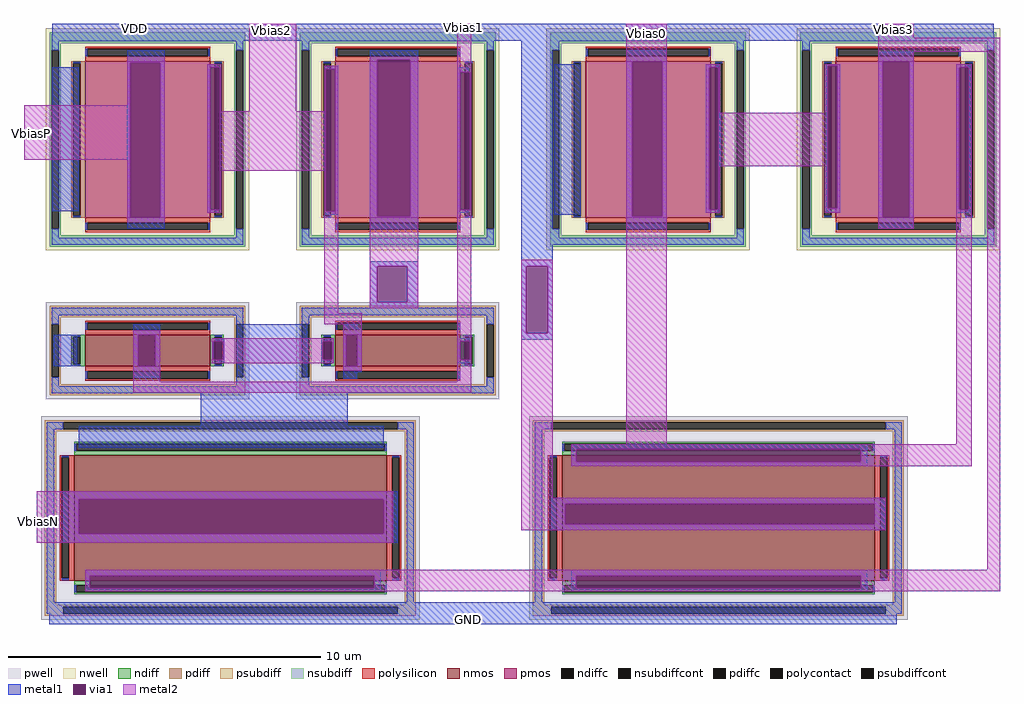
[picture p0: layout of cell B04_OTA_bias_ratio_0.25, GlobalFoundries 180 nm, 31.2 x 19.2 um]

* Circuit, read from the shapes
.subckt B04_OTA_bias_ratio_0.25 VDD Vbias2 Vbias1 VbiasP VbiasN Vbias0 Vbias3 GND
XM1 GND VbiasN Vbias3 GND nfet_03v3 w=10u l=4u
XM2 n1 Vbias1 GND GND nfet_03v3 w=1u l=4u
XM3 Vbias1 Vbias2 n1 GND nfet_03v3 w=1u l=4u
XM4 Vbias0 VDD Vbias3 GND nfet_03v3 w=10u l=4u
XM5 Vbias2 VbiasP VDD VDD pfet_03v3 w=5u l=4u
XM6 Vbias1 GND Vbias2 VDD pfet_03v3 w=5u l=4u
XM7 n2 Vbias0 VDD VDD pfet_03v3 w=5u l=4u
XM8 Vbias0 Vbias3 n2 VDD pfet_03v3 w=5u l=4u
.ends

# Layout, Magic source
magic
tech gf180mcuD
<< pwell >>
rect 96 -78 100 -75
<< metal1 >>
rect -6 128 596 139
rect 42 114 66 122
rect -6 19 11 111
rect 42 15 44 114
rect 63 15 66 114
rect 197 116 228 122
rect 93 111 99 113
rect 93 20 95 111
rect 168 110 177 112
rect 93 18 99 20
rect 168 19 169 110
rect 175 19 177 110
rect 168 17 177 19
rect 42 8 66 15
rect 197 16 202 116
rect 223 16 228 116
rect 253 108 260 111
rect 253 20 255 108
rect 253 18 260 20
rect 197 8 228 16
rect 197 -16 228 -13
rect 197 -39 202 -16
rect 221 -39 228 -16
rect 197 -44 228 -39
rect 294 -16 314 128
rect 361 115 387 122
rect 315 17 332 113
rect 361 16 365 115
rect 384 16 387 115
rect 522 115 545 121
rect 412 111 421 113
rect 412 20 414 111
rect 420 20 421 111
rect 412 18 421 20
rect 489 112 498 113
rect 489 21 490 112
rect 496 21 498 112
rect 489 18 498 21
rect 361 8 387 16
rect 522 15 525 115
rect 542 15 545 115
rect 572 111 582 113
rect 572 20 574 111
rect 580 20 582 111
rect 572 18 582 20
rect 522 8 545 15
rect 46 -60 63 -53
rect -5 -80 10 -60
rect 46 -80 49 -60
rect 60 -80 63 -60
rect 96 -64 104 -62
rect 96 -76 97 -64
rect 103 -76 104 -64
rect 96 -78 104 -76
rect 46 -87 63 -80
rect 112 -88 157 -53
rect 180 -56 189 -53
rect 180 -60 192 -56
rect 166 -64 174 -62
rect 166 -76 167 -64
rect 173 -76 174 -64
rect 166 -78 174 -76
rect 180 -80 182 -60
rect 189 -80 192 -60
rect 294 -59 297 -16
rect 311 -59 314 -16
rect 253 -64 262 -62
rect 294 -63 314 -59
rect 253 -76 255 -64
rect 261 -76 262 -64
rect 253 -78 262 -76
rect 180 -84 192 -80
rect 180 -88 189 -84
rect 115 -95 154 -88
rect 89 -118 183 -95
rect 11 -132 206 -118
rect 326 -133 515 -130
rect 326 -141 329 -133
rect 511 -141 515 -133
rect 326 -144 515 -141
rect 1 -165 215 -160
rect 1 -187 11 -165
rect 206 -187 215 -165
rect 313 -168 527 -164
rect 313 -181 322 -168
rect 520 -181 527 -168
rect 313 -185 527 -181
rect 1 -193 215 -187
rect 15 -214 204 -210
rect 15 -222 18 -214
rect 200 -222 204 -214
rect 15 -224 204 -222
rect 326 -214 515 -210
rect 326 -222 329 -214
rect 511 -222 515 -214
rect 326 -224 515 -222
rect -8 -245 534 -231
<< via1 >>
rect 44 15 63 114
rect 95 20 101 111
rect 169 19 175 110
rect 202 16 223 116
rect 255 20 261 108
rect 202 -39 221 -16
rect 365 16 384 115
rect 414 20 420 111
rect 490 21 496 112
rect 525 15 542 115
rect 574 20 580 111
rect 49 -80 60 -60
rect 97 -76 103 -64
rect 167 -76 173 -64
rect 182 -80 189 -60
rect 297 -59 311 -16
rect 255 -76 261 -64
rect 329 -141 511 -133
rect 11 -187 206 -165
rect 322 -181 520 -168
rect 18 -222 200 -214
rect 329 -222 511 -214
<< metal2 >>
rect 42 114 66 118
rect 42 87 44 114
rect -24 52 44 87
rect 42 15 44 52
rect 63 15 66 114
rect 93 111 102 113
rect 93 20 95 111
rect 101 83 102 111
rect 120 83 150 139
rect 197 116 228 118
rect 168 110 177 112
rect 168 83 169 110
rect 101 45 169 83
rect 101 20 102 45
rect 93 18 102 20
rect 168 19 169 45
rect 175 19 177 110
rect 42 12 66 15
rect 168 -46 177 19
rect 197 16 202 116
rect 223 16 228 116
rect 197 -16 228 16
rect 197 -39 202 -16
rect 221 -39 228 -16
rect 197 -43 228 -39
rect 253 108 262 139
rect 253 20 255 108
rect 261 20 262 108
rect 168 -53 192 -46
rect 46 -60 63 -57
rect 46 -80 49 -60
rect 60 -80 63 -60
rect 180 -60 192 -53
rect 96 -64 174 -62
rect 96 -76 97 -64
rect 103 -76 167 -64
rect 173 -76 174 -64
rect 96 -78 174 -76
rect 46 -90 63 -80
rect 180 -80 182 -60
rect 189 -80 192 -60
rect 180 -83 192 -80
rect 253 -64 262 20
rect 361 115 387 139
rect 361 16 365 115
rect 384 16 387 115
rect 522 130 545 139
rect 522 121 600 130
rect 522 115 545 121
rect 412 111 421 113
rect 412 20 414 111
rect 420 82 421 111
rect 488 112 498 113
rect 488 82 490 112
rect 420 48 490 82
rect 420 20 421 48
rect 412 18 421 20
rect 488 21 490 48
rect 496 21 498 112
rect 488 18 498 21
rect 253 -76 255 -64
rect 261 -76 262 -64
rect 253 -90 262 -76
rect 46 -97 262 -90
rect 294 -16 314 -12
rect 294 -59 297 -16
rect 311 -59 314 -16
rect -16 -165 212 -160
rect -16 -187 11 -165
rect 206 -187 212 -165
rect 294 -164 314 -59
rect 361 -130 387 16
rect 522 15 525 115
rect 542 15 545 115
rect 522 8 545 15
rect 572 111 582 113
rect 572 20 574 111
rect 580 20 582 111
rect 572 -130 582 20
rect 326 -133 582 -130
rect 326 -141 329 -133
rect 511 -141 582 -133
rect 326 -144 582 -141
rect 294 -168 527 -164
rect 294 -181 322 -168
rect 520 -181 527 -168
rect 294 -185 527 -181
rect -16 -193 212 -187
rect 592 -210 600 121
rect 15 -214 600 -210
rect 15 -222 18 -214
rect 200 -222 329 -214
rect 511 -222 600 -214
rect 15 -224 600 -222
use pfet_03v3_AERJ7T  XM1
transform 1 0 215 0 1 65
box -65 -71 65 71
use pfet_03v3_AERJ7T  XM2
transform 1 0 55 0 1 65
box -65 -71 65 71
use nfet_03v3_GPTQ69  XM3
transform 0 1 420 -1 0 -177
box -65 -121 65 121
use nfet_03v3_REC73X  XM4
transform 1 0 215 0 1 -70
box -65 -31 65 31
use nfet_03v3_REC73X  XM5
transform 1 0 55 0 1 -70
box -65 -31 65 31
use nfet_03v3_GPTQ69  XM6
transform 0 1 108 -1 0 -177
box -65 -121 65 121
use pfet_03v3_AERJ7T  XM9
transform 1 0 535 0 1 65
box -65 -71 65 71
use pfet_03v3_AERJ7T  XM10
transform 1 0 375 0 1 65
box -65 -71 65 71
<< labels >>
rlabel metal2 131 133 138 136 1 Vbias2
port 2 n
rlabel metal2 255 135 259 138 1 Vbias1
port 3 n
rlabel metal1 39 135 54 137 1 VDD
port 1 n
rlabel metal2 -20 63 -18 74 1 VbiasP
port 4 n
rlabel metal2 -16 -182 -13 -177 1 VbiasN
port 5 n
rlabel metal2 368 130 380 135 1 Vbias0
port 6 n
rlabel metal2 526 134 538 137 1 Vbias3
port 7 n
rlabel metal1 248 -243 272 -241 1 GND
port 8 n
<< end >>

# cell pfet_03v3_AERJ7T: kit device pfet_03v3, w 5 l 4 m 1 nf 1 diffcov 100 polycov 100 guard 1 glc 1 grc 1 gtc 0 gbc 0 tbcov 100 rlcov 100 topc 1 botc 1 poverlap 0 doverlap 1 lmin 0.28 wmin 0.22 class mosfet full_metal 1 compatible {pfet_03v3 pfet_05v0 pfet_06v0}

# cell nfet_03v3_GPTQ69: kit device nfet_03v3, w 10 l 4 m 1 nf 1 diffcov 100 polycov 100 guard 1 glc 1 grc 1 gtc 0 gbc 0 tbcov 100 rlcov 100 topc 1 botc 1 poverlap 0 doverlap 1 lmin 0.28 wmin 0.22 class mosfet full_metal 1 compatible {nfet_03v3 nfet_05v0 nfet_06v0 nfet_06v0_nvt}

# cell nfet_03v3_REC73X: kit device nfet_03v3, w 1 l 4 m 1 nf 1 diffcov 100 polycov 100 guard 1 glc 1 grc 1 gtc 0 gbc 0 tbcov 100 rlcov 100 topc 1 botc 1 poverlap 0 doverlap 1 lmin 0.28 wmin 0.22 class mosfet full_metal 1 compatible {nfet_03v3 nfet_05v0 nfet_06v0 nfet_06v0_nvt}
